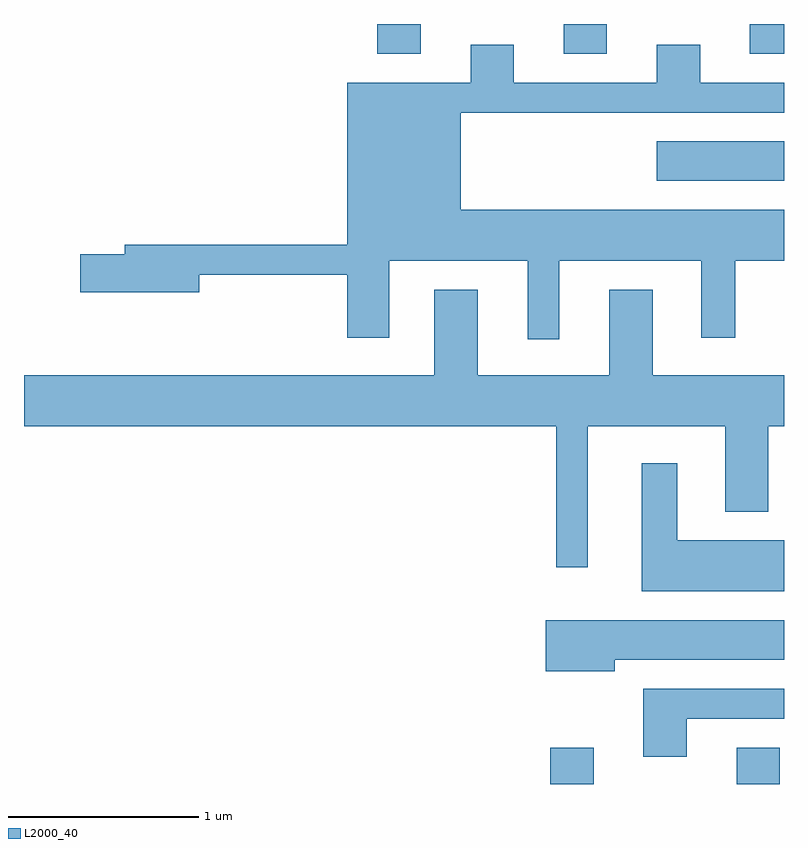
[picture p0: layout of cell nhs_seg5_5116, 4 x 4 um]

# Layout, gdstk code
import gdstk
lib = gdstk.Library(unit=1e-6, precision=1e-09)
def R(c, l, rs):  # rectangles x0, y0, x1, y1
    for r in rs: c.add(gdstk.rectangle(r[:2], r[2:], *l))
def P(c, l, *ps):  # polygons
    for p in ps: c.add(gdstk.Polygon(p, *l))
L2000_40 = (2000, 40)

nhs_seg5_5116 = lib.new_cell('nhs_seg5_5116')
R(nhs_seg5_5116, L2000_40, [(340.381,1406.072,340.609,1406.264), (341.361,1406.072,341.589,1406.264), (340.941,1409.246,341.611,1409.454), (339.471,1409.916,339.699,1410.072), (340.451,1409.916,340.679,1410.072), (341.431,1409.916,341.611,1410.072)])
P(nhs_seg5_5116, L2000_40, [(340.429,1408.826),(341.176,1408.826),(341.176,1408.421),(341.354,1408.421),(341.354,1408.826),(341.611,1408.826),(341.611,1409.094),(339.909,1409.094),(339.909,1409.606),(341.611,1409.606),(341.611,1409.764),(341.169,1409.764),(341.169,1409.964),(340.941,1409.964),(340.941,1409.764),(340.189,1409.764),(340.189,1409.964),(339.961,1409.964),(339.961,1409.764),(339.311,1409.764),(339.311,1408.909),(338.141,1408.909),(338.141,1408.859),(337.906,1408.859),(337.906,1408.661),(338.534,1408.661),(338.534,1408.751),(339.311,1408.751),(339.311,1408.421),(339.534,1408.421),(339.534,1408.826),(340.261,1408.826),(340.261,1408.413),(340.429,1408.413)],
  [(340.579,1407.956),(341.301,1407.956),(341.301,1407.506),(341.529,1407.506),(341.529,1407.956),(341.611,1407.956),(341.611,1408.224),(340.919,1408.224),(340.919,1408.674),(340.691,1408.674),(340.691,1408.224),(339.999,1408.224),(339.999,1408.674),(339.771,1408.674),(339.771,1408.224),(337.611,1408.224),(337.611,1407.956),(340.411,1407.956),(340.411,1407.213),(340.579,1407.213)],
  [(341.611,1407.354),(341.049,1407.354),(341.049,1407.759),(340.861,1407.759),(340.861,1407.086),(341.611,1407.086)],
  [(340.719,1406.726),(341.611,1406.726),(341.611,1406.934),(340.356,1406.934),(340.356,1406.666),(340.719,1406.666)],
  [(341.099,1406.416),(341.611,1406.416),(341.611,1406.574),(340.871,1406.574),(340.871,1406.216),(341.099,1406.216)])

lib.write_gds('nhs_seg5_5116.gds')
